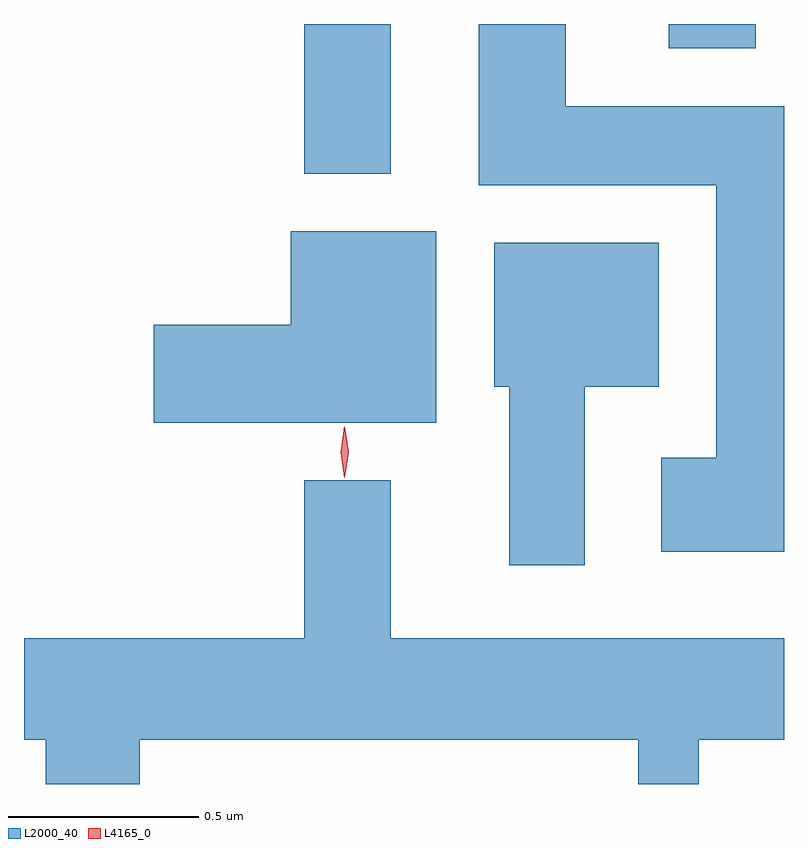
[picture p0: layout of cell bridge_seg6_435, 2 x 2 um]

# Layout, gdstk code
import gdstk
lib = gdstk.Library(unit=1e-6, precision=1e-09)
def R(c, l, rs):  # rectangles x0, y0, x1, y1
    for r in rs: c.add(gdstk.rectangle(r[:2], r[2:], *l))
def P(c, l, *ps):  # polygons
    for p in ps: c.add(gdstk.Polygon(p, *l))
L2000_40 = (2000, 40)
L4165_0 = (4165, 0)

bridge_seg6_435 = lib.new_cell('bridge_seg6_435')
R(bridge_seg6_435, L2000_40, [(879.101,1651.426,879.329,1651.82), (880.061,1651.756,880.289,1651.82)])
P(bridge_seg6_435, L2000_40, [(880.364,1651.604),(879.789,1651.604),(879.789,1651.82),(879.561,1651.82),(879.561,1651.396),(880.186,1651.396),(880.186,1650.679),(880.041,1650.679),(880.041,1650.431),(880.364,1650.431)],
  [(879.449,1651.274),(879.066,1651.274),(879.066,1651.029),(878.706,1651.029),(878.706,1650.771),(879.449,1650.771)],
  [(879.839,1650.866),(880.034,1650.866),(880.034,1651.244),(879.601,1651.244),(879.601,1650.866),(879.641,1650.866),(879.641,1650.396),(879.839,1650.396)],
  [(878.669,1649.936),(879.981,1649.936),(879.981,1649.82),(880.139,1649.82),(880.139,1649.936),(880.364,1649.936),(880.364,1650.204),(879.329,1650.204),(879.329,1650.619),(879.101,1650.619),(879.101,1650.204),(878.364,1650.204),(878.364,1649.936),(878.421,1649.936),(878.421,1649.82),(878.669,1649.82)])
P(bridge_seg6_435, L4165_0, [(879.208,1650.626),(879.207,1650.627),(879.198,1650.693),(879.207,1650.76),(879.208,1650.76),(879.208,1650.76),(879.218,1650.693),(879.208,1650.627)])

lib.write_gds('bridge_seg6_435.gds')
